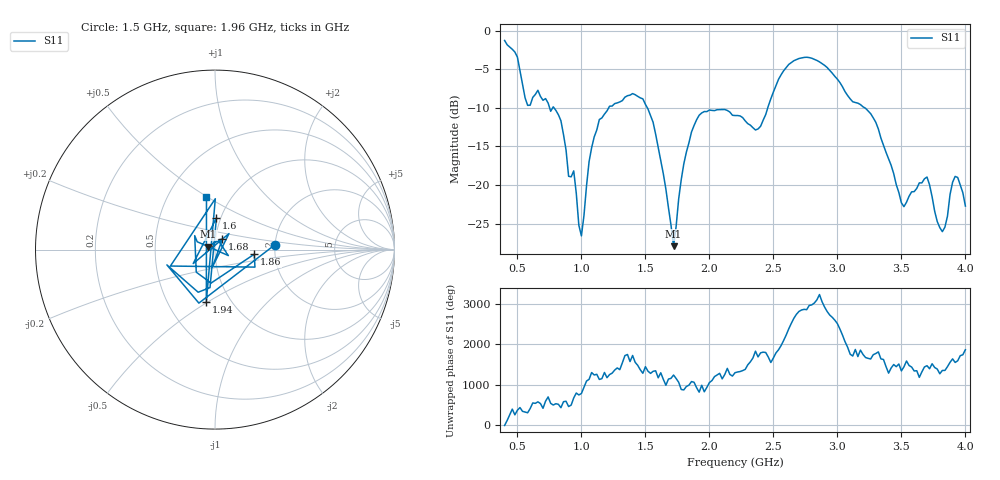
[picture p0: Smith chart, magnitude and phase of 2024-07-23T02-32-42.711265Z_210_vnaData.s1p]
!Created with skrf (http://scikit-rf.org).
# Hz S RI R 50.0
!freq ReS11 ImS11
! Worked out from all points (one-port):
!   181 points, 400 MHz to 4 GHz, reference 50 ohm
!   lowest |S11| = -27.9 dB at 1.72 GHz (marker M1), VSWR 1.08, Z = 46.4 + j1.51 ohm
!   |S11| at or under -10 dB: 786.2 MHz to 1.213 GHz (426.7 MHz wide, 42.7 % of centre); 1.515 GHz to 2.456 GHz (940.4 MHz wide, 47.4 % of centre); 3.214 GHz to end of sweep (the widest 3 of 4)
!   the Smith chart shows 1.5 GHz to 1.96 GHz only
!   S11 on the Smith chart (normalised r, x): 1.5 GHz: 1.99, +0.12; 1.6 GHz: 0.95, +0.35; 1.68 GHz: 1.08, +0.13; 1.86 GHz: 1.56, -0.08; 1.94 GHz: 0.77, -0.49; 1.96 GHz: 0.77, +0.50
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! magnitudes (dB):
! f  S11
! 400 MHz  -1.3
! 500 MHz  -3.4
! 580 MHz  -9.7
! 660 MHz  -7.7
! 860 MHz  -13.5
! 900 MHz  -18.9
! 940 MHz  -18.2
! 1 GHz  -26.6
! 1.1 GHz  -13.8
! 1.3 GHz  -9.2
! 1.5 GHz  -9.5
! 1.6 GHz  -15.1
! 1.68 GHz  -22.9
! 1.72 GHz  -27.9
! 1.76 GHz  -21.8
! 1.86 GHz  -13.1
! 1.94 GHz  -10.7
! 1.96 GHz  -10.5
! 2.2 GHz  -11.0
! 2.38 GHz  -12.7
! 2.66 GHz  -3.9
! 3.1 GHz  -8.8
! 3.5 GHz  -22.3
! 3.56 GHz  -21.4
! 3.7 GHz  -19.0
! 3.82 GHz  -26.0
! 3.92 GHz  -18.9
! 4 GHz  -22.7
